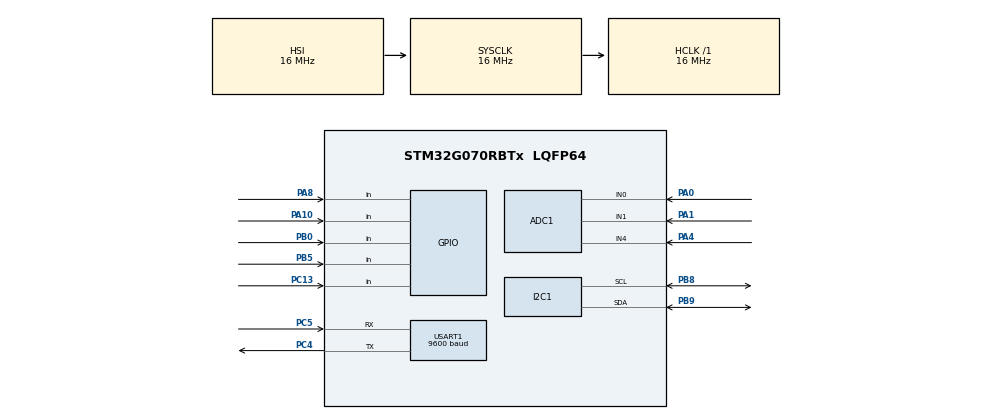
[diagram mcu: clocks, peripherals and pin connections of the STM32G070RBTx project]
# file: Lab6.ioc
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ADC1.Channel-0\#ChannelRegularConversion=ADC_CHANNEL_4
ADC1.Channel-1\#ChannelRegularConversion=ADC_CHANNEL_1
ADC1.Channel-2\#ChannelRegularConversion=ADC_CHANNEL_0
ADC1.ContinuousConvMode=DISABLE
ADC1.DMAContinuousRequests=DISABLE
ADC1.NbrOfConversion=3
ADC1.NbrOfConversionFlag=1
ADC1.Rank-0\#ChannelRegularConversion=1
ADC1.Rank-1\#ChannelRegularConversion=2
ADC1.Rank-2\#ChannelRegularConversion=3
ADC1.SamplingTime-0\#ChannelRegularConversion=ADC_SAMPLINGTIME_COMMON_1
ADC1.SamplingTime-1\#ChannelRegularConversion=ADC_SAMPLINGTIME_COMMON_1
ADC1.SamplingTime-2\#ChannelRegularConversion=ADC_SAMPLINGTIME_COMMON_1
ADC1.ScanConvMode=ADC_SCAN_DISABLE
ADC1.SelectedChannel=ADC_CHANNEL_0|ADC_CHANNEL_1|ADC_CHANNEL_4
ADC1.master=1
Dma.ADC1.0.Direction=DMA_PERIPH_TO_MEMORY
Dma.ADC1.0.EventEnable=DISABLE
Dma.ADC1.0.Instance=DMA1_Channel1
Dma.ADC1.0.MemDataAlignment=DMA_MDATAALIGN_HALFWORD
Dma.ADC1.0.MemInc=DMA_MINC_ENABLE
Dma.ADC1.0.Mode=DMA_CIRCULAR
Dma.ADC1.0.PeriphDataAlignment=DMA_PDATAALIGN_HALFWORD
Dma.ADC1.0.PeriphInc=DMA_PINC_DISABLE
Dma.ADC1.0.Polarity=HAL_DMAMUX_REQ_GEN_RISING
Dma.ADC1.0.Priority=DMA_PRIORITY_LOW
Dma.ADC1.0.RequestNumber=1
Dma.ADC1.0.SignalID=NONE
Dma.ADC1.0.SyncEnable=DISABLE
Dma.ADC1.0.SyncPolarity=HAL_DMAMUX_SYNC_NO_EVENT
Dma.ADC1.0.SyncRequestNumber=1
Dma.ADC1.0.SyncSignalID=NONE
Dma.Request0=ADC1
Mcu.Family=STM32G0
Mcu.Name=STM32G070RBTx
Mcu.Package=LQFP64
NVIC.ADC1_IRQn=true\:0\:0\:false\:false\:true\:true\:true
NVIC.DMA1_Channel1_IRQn=true\:0\:0\:false\:false\:true\:false\:true
NVIC.USART1_IRQn=true\:0\:0\:false\:false\:true\:true\:true
PA0.Mode=IN0
PA0.Signal=ADC1_IN0
PA1.Mode=IN1
PA1.Signal=ADC1_IN1
PA10.Signal=GPIO_Input
PA4.Mode=IN4
PA4.Signal=ADC1_IN4
PA8.Signal=GPIO_Input
PB0.Signal=GPIO_Input
PB5.Signal=GPIO_Input
PB8.GPIO_Pu=GPIO_PULLUP
PB8.Mode=I2C
PB8.Signal=I2C1_SCL
PB9.GPIO_Pu=GPIO_PULLUP
PB9.Mode=I2C
PB9.Signal=I2C1_SDA
PC13.Signal=GPIO_Input
PC4.Mode=Asynchronous
PC4.Signal=USART1_TX
PC5.Mode=Asynchronous
PC5.Signal=USART1_RX
ProjectManager.HeapSize=0x200
ProjectManager.StackSize=0x400
ProjectManager.TargetToolchain=EWARM V8.32
RCC.AHBFreq_Value=16000000
RCC.CortexFreq_Value=16000000
RCC.EXTERNAL_CLOCK_VALUE=48000
RCC.HCLKFreq_Value=16000000
RCC.HSE_VALUE=8000000
RCC.HSI_VALUE=16000000
RCC.LSE_VALUE=32768
RCC.SYSCLKFreq_VALUE=16000000
RCC.VCOOutputFreq_Value=128000000
USART1.BaudRate=9600
USART1.VirtualMode-Asynchronous=VM_ASYNC
VP_SYS_VS_DBSignals.Mode=DisableDeadBatterySignals
VP_TIM15_VS_ClockSourceINT.Mode=Internal
VP_TIM1_VS_ClockSourceINT.Mode=Internal
VP_TIM3_VS_ClockSourceINT.Mode=Internal
board=custom

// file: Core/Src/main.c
/* USER CODE BEGIN Header */
/**
  ******************************************************************************
  * @file           : main.c
  * @brief          : Main program body
  ******************************************************************************
  * @attention
  *
  * <h2><center>&copy; Copyright (c) 2021 STMicroelectronics.
  * All rights reserved.</center></h2>
  *
  * This software component is licensed by ST under BSD 3-Clause license,
  * the "License"; You may not use this file except in compliance with the
  * License. You may obtain a copy of the License at:
  *                        opensource.org/licenses/BSD-3-Clause
  *
  ******************************************************************************
  */
/* USER CODE END Header */
#include "main.h"

/* USER CODE BEGIN Includes */
#include "KeyboardHoldRepeat.h"
#include "waveform_16.h"
#include "serial.h"
#include "serial_user.h"
#include "fonts.h"
#include "ssd1306.h"
#include "ux_manager.h"
#include "thermocouple.h"

/* USER CODE END Includes */

/* USER CODE BEGIN PD */
#define EEPROM_ADDR     0xA0
/* USER CODE END PD */

ADC_HandleTypeDef hadc1;
DMA_HandleTypeDef hdma_adc1;

I2C_HandleTypeDef hi2c1;

TIM_HandleTypeDef htim1;
TIM_HandleTypeDef htim3;
TIM_HandleTypeDef htim15;

UART_HandleTypeDef huart1;

/* USER CODE BEGIN PV */
// scheduler stuff
extern uint8_t ten_mS_Flag;
extern uint8_t twentyfive_mS_Flag;
extern uint8_t hundred_mS_Flag;
extern uint8_t one_S_Flag;
#define FIVE_SEC_SEED 5
uint8_t five_S_Counter = FIVE_SEC_SEED;

uint8_t timeout_flag = 0;
uint8_t timeout_count = 0;
uint8_t count_flag = 0;

// Keyboard
uint8_t keyCode = NO_KEY_PRESSED;

// Comm
extern uint8_t processPacket;

// system variables
volatile uint16_t serialValue = 23;

// UI
uint8_t flashLED = false;
uint8_t buttonPushed = false;
uint16_t flashDelay = 1000;
uint16_t flashDelaySeed = 1000;
uint8_t flashAtSpeed = false;
uint16_t number = 43;
uint8_t errcode = 0;

// Display
DWfloat temperature = {"%4.1f", "----", 0, 0, true, 72.2};
DWfloat target = {"%4.1f", "----", 0, 0, true, 72.2};
extern DWfloat humidity;
DWuint8_t count = {"%3d", "----", 0, 0, true, 0};
DWstring units = {"%s", "----", 0, 0, true, "DegF"};
DWstring type = {"%s", "----", 0, 0, true, "None"};
DWstring cook = {"%s", "----", 0, 0, true, "None"};
DWstring message = {"%s", "----", 0, 0, true, "None"};
uint8_t unitChoices[2][5] = {"DegF", "DegC"};
uint16_t screenTime = 0;
#define SCREEN_TIMEOUT_COUNT     15
extern ui_screen currentScreen;

// ADC
uint16_t dmaBuffer[3];

// Thermometer
float thermTempInC = 0.0;
float tempTCInC = 0.0;
float finalTempInC = 0.0;
uint8_t typeState = 0;
float tempCustomInF = 150.0;
float tempCustomInC = 65.0;
float lastCustomInC = 0.0;
uint8_t tempCustomUseC = false;
float tempFinalInC = 0.0;
int32_t countsAdjusted;
uint32_t countsCJ;
cal_constants myCal;
cal_constants testCal;
uint8_t updateCalFlag = false;
uint8_t calCount;

// ADC Channel 0 , rank 3, is for CJ temp
// ADC Channel 1 , rank 2, is for TC offset
// ADC Channel 4 , rank 1, is for TC Output

/* USER CODE END PV */

void SystemClock_Config(void);
static void MX_GPIO_Init(void);
static void MX_ADC1_Init(void);
static void MX_TIM1_Init(void);
static void MX_TIM3_Init(void);
static void MX_TIM15_Init(void);
static void MX_USART1_UART_Init(void);
static void MX_DMA_Init(void);
static void MX_I2C1_Init(void);
/* USER CODE BEGIN PFP */
void InitValuesPWM(void);
void SetRedLedLevel(uint16_t r_level);
void SetGreenLedLevel(uint16_t g_level);
void SetBlueLedLevel(uint16_t b_level);
float Temp_Cold_Junction(uint16_t counts);
float Temp_TC(uint16_t counts);
uint32_t Temp_Cold_Counts(float tempRaw);
float Temp_Final(uint16_t counts);
float Temp_Calibrate(float temp);
/* USER CODE END PFP */

int main(void)
{

  /* MCU Configuration--------------------------------------------------------*/

  /* Reset of all peripherals, Initializes the Flash interface and the Systick. */
  HAL_Init();

  /* Configure the system clock */
  SystemClock_Config();

  /* Initialize all configured peripherals */
  MX_GPIO_Init();
  MX_DMA_Init();
  MX_ADC1_Init();
  MX_TIM1_Init();
  MX_TIM3_Init();
  MX_TIM15_Init();
  MX_USART1_UART_Init();
  MX_I2C1_Init();
  /* USER CODE BEGIN 2 */
  // Add this line because of bugs. Yay!
  HAL_SYSCFG_StrobeDBattpinsConfig(SYSCFG_UCPD1_STROBE);

  // Start ADC DMA
  HAL_ADC_Start_DMA(&hadc1, (uint32_t *)&dmaBuffer, 3);

  // UART related init
  HAL_UART_Transmit(&huart1,"Mornin'!\r\n", 10, 1000); // this tests the UART functionalit

  LL_USART_EnableIT_RXNE_RXFNE(USART1); // this line turns on the UART receive interrupt.

  SendString("\r\nBongiorno!\r\n", 14, StripZeros, AddCRLF);  // this function cal tests the transmit UART interrupt.

  // Get calibration constants from memory
  HAL_I2C_Mem_Read(&hi2c1, EEPROM_ADDR, 0, I2C_MEMADD_SIZE_8BIT, myCal.arr, 8, HAL_MAX_DELAY);

  // Display related init
  SSD1306_Init();  // initialise
  SSD1306_Clear();
  SSD1306_GotoXY (0,0);
  SSD1306_Puts ("Welcome to", &Font_11x18, SSD1306_COLOR_WHITE);
  SSD1306_GotoXY (0,20);
  SSD1306_Puts ("The Grill", &Font_11x18, SSD1306_COLOR_WHITE);
  SSD1306_GotoXY (0,40);
  SSD1306_Puts ("Thermometer!", &Font_11x18, SSD1306_COLOR_WHITE);
  SSD1306_UpdateScreen();

  HAL_Delay (3000);

  SwitchScreens(HOME);

  /* USER CODE END 2 */

  /* Infinite loop */
  /* USER CODE BEGIN WHILE */
  while (1)
  {
    //---------------------------------
    // 10mS Tasks
    if (ten_mS_Flag) {
      ten_mS_Flag = false;

    }  // end of 10mS Tasks
    //---------------------------------

    //---------------------------------
    // 25mS Tasks
    if (twentyfive_mS_Flag) {
      twentyfive_mS_Flag = false;

      keyCode = ScanKeyboard();
      DebounceKeyCode(keyCode);

      // If we've gotten a valid debounced keyCode, process it
      if (processKeyCode == true) {
        //ProcessKeyCode(keyCode);
        ProcessKeyCodeInContext(keyCode);
      }

      thermTempInC = Temp_Cold_Junction(dmaBuffer[2]);
      tempTCInC = Temp_TC(dmaBuffer[0]);
      tempFinalInC = Temp_Final(dmaBuffer[0]);

      // If units are F then convert to F, otherwise temp is C
      if(units.data[3] == 'F') {temperature.data = (tempFinalInC*(9.0/5.0)) + 32;}
      else {temperature.data = tempFinalInC;}

      switch(typeState) {
      case BEEF:
        strcpy(type.data, "Beef       ");
        if(units.data[3] == 'F') {target.data = 135.0;} // in F
        else {target.data = 57.2222;} // in C
        break;
      case PORK:
        strcpy(type.data, "Pork       ");
        if(units.data[3] == 'F') {target.data = 145.0;} // in F
        else {target.data = 62.7778;} // in C
        break;
      case CHICKEN:
        strcpy(type.data, "Chicken       ");
        if(units.data[3] == 'F') {target.data = 165.0;} // in F
        else {target.data = 73.8889;} // in C
        break;
      case CUSTOM:
        strcpy(type.data, "Custom       ");
        if(tempCustomUseC) {
          if(units.data[3] == 'F') {target.data = (tempCustomInC*(9.0/5.0)) + 32;}
          else {target.data = tempCustomInC;}
        }
        else {
          if(units.data[3] == 'C') {target.data = (tempCustomInF-32)*(5.0/9.0);}
          else {target.data = tempCustomInF;}
        }
        break;
      }
    }  // end of 25mS Tasks
    //---------------------------------

    //---------------------------------
    // 100mS Tasks
    if (hundred_mS_Flag) {
      hundred_mS_Flag = false;

      //HAL_ADC_Start_IT(&hadc1);

      HAL_ADC_Start_DMA(&hadc1, (uint32_t *)&dmaBuffer, 3);

      if(updateCalFlag) {
        updateCalFlag = false;
        calCount++;
        HAL_I2C_Mem_Write(&hi2c1, EEPROM_ADDR, 0, I2C_MEMADD_SIZE_8BIT, myCal.arr, 8, HAL_MAX_DELAY);
      }
    }  // end of 100mS Tasks
    //---------------------------------

    //---------------------------------
    // 1 Sec Tasks
    if (one_S_Flag) {
      one_S_Flag = false;
      UpdateScreenValues();
      count.data++;

      if(timeout_flag) {
        timeout_flag = 0;
        timeout_count = 0;
        count_flag = 1;
      }
      else if(count_flag) {
        if(timeout_count >= SCREEN_TIMEOUT_COUNT){
          count_flag = 0;
          if(currentScreen != HOME) {SwitchScreens(HOME);}
        }
        else {timeout_count++;}
      }

    } // end of 1Sec Tasks
    //---------------------------------

    //---------------------------------
    // Every time through the loop
    if (nextSerialRxIn != nextSerialRx2Proc) {
      ProcessReceiveBuffer();
    }

    if (processPacket == true) {
      processPacket = false;
      timeout_flag = 1;
      ProcessPacket();
    }
    // end Every time through the loop
    //---------------------------------

    /* USER CODE END WHILE */

  }
}

void SystemClock_Config(void)
{
  RCC_OscInitTypeDef RCC_OscInitStruct = {0};
  RCC_ClkInitTypeDef RCC_ClkInitStruct = {0};
  RCC_PeriphCLKInitTypeDef PeriphClkInit = {0};

  /** Configure the main internal regulator output voltage
  */
  HAL_PWREx_ControlVoltageScaling(PWR_REGULATOR_VOLTAGE_SCALE1);
  /** Initializes the RCC Oscillators according to the specified parameters
  * in the RCC_OscInitTypeDef structure.
  */
  RCC_OscInitStruct.OscillatorType = RCC_OSCILLATORTYPE_HSI;
  RCC_OscInitStruct.HSIState = RCC_HSI_ON;
  RCC_OscInitStruct.HSIDiv = RCC_HSI_DIV1;
  RCC_OscInitStruct.HSICalibrationValue = RCC_HSICALIBRATION_DEFAULT;
  RCC_OscInitStruct.PLL.PLLState = RCC_PLL_NONE;
  if (HAL_RCC_OscConfig(&RCC_OscInitStruct) != HAL_OK)
  {
    Error_Handler();
  }
  /** Initializes the CPU, AHB and APB buses clocks
  */
  RCC_ClkInitStruct.ClockType = RCC_CLOCKTYPE_HCLK|RCC_CLOCKTYPE_SYSCLK
                              |RCC_CLOCKTYPE_PCLK1;
  RCC_ClkInitStruct.SYSCLKSource = RCC_SYSCLKSOURCE_HSI;
  RCC_ClkInitStruct.AHBCLKDivider = RCC_SYSCLK_DIV1;
  RCC_ClkInitStruct.APB1CLKDivider = RCC_HCLK_DIV1;

  if (HAL_RCC_ClockConfig(&RCC_ClkInitStruct, FLASH_LATENCY_0) != HAL_OK)
  {
    Error_Handler();
  }
  /** Initializes the peripherals clocks
  */
  PeriphClkInit.PeriphClockSelection = RCC_PERIPHCLK_USART1|RCC_PERIPHCLK_I2C1
                              |RCC_PERIPHCLK_ADC;
  PeriphClkInit.Usart1ClockSelection = RCC_USART1CLKSOURCE_PCLK1;
  PeriphClkInit.I2c1ClockSelection = RCC_I2C1CLKSOURCE_PCLK1;
  PeriphClkInit.AdcClockSelection = RCC_ADCCLKSOURCE_SYSCLK;
  if (HAL_RCCEx_PeriphCLKConfig(&PeriphClkInit) != HAL_OK)
  {
    Error_Handler();
  }
}

static void MX_ADC1_Init(void)
{

  ADC_ChannelConfTypeDef sConfig = {0};

  /** Configure the global features of the ADC (Clock, Resolution, Data Alignment and number of conversion)
  */
  hadc1.Instance = ADC1;
  hadc1.Init.ClockPrescaler = ADC_CLOCK_SYNC_PCLK_DIV2;
  hadc1.Init.Resolution = ADC_RESOLUTION_12B;
  hadc1.Init.DataAlign = ADC_DATAALIGN_RIGHT;
  hadc1.Init.ScanConvMode = ADC_SCAN_DISABLE;
  hadc1.Init.EOCSelection = ADC_EOC_SINGLE_CONV;
  hadc1.Init.LowPowerAutoWait = DISABLE;
  hadc1.Init.LowPowerAutoPowerOff = DISABLE;
  hadc1.Init.ContinuousConvMode = DISABLE;
  hadc1.Init.NbrOfConversion = 3;
  hadc1.Init.DiscontinuousConvMode = DISABLE;
  hadc1.Init.ExternalTrigConv = ADC_SOFTWARE_START;
  hadc1.Init.ExternalTrigConvEdge = ADC_EXTERNALTRIGCONVEDGE_NONE;
  hadc1.Init.DMAContinuousRequests = DISABLE;
  hadc1.Init.Overrun = ADC_OVR_DATA_PRESERVED;
  hadc1.Init.SamplingTimeCommon1 = ADC_SAMPLETIME_1CYCLE_5;
  hadc1.Init.SamplingTimeCommon2 = ADC_SAMPLETIME_1CYCLE_5;
  hadc1.Init.OversamplingMode = DISABLE;
  hadc1.Init.TriggerFrequencyMode = ADC_TRIGGER_FREQ_HIGH;
  if (HAL_ADC_Init(&hadc1) != HAL_OK)
  {
    Error_Handler();
  }
  /** Configure Regular Channel
  */
  sConfig.Channel = ADC_CHANNEL_4;
  sConfig.Rank = ADC_REGULAR_RANK_1;
  sConfig.SamplingTime = ADC_SAMPLINGTIME_COMMON_1;
  if (HAL_ADC_ConfigChannel(&hadc1, &sConfig) != HAL_OK)
  {
    Error_Handler();
  }
  /** Configure Regular Channel
  */
  sConfig.Channel = ADC_CHANNEL_1;
  sConfig.Rank = ADC_REGULAR_RANK_2;
  if (HAL_ADC_ConfigChannel(&hadc1, &sConfig) != HAL_OK)
  {
    Error_Handler();
  }
  /** Configure Regular Channel
  */
  sConfig.Channel = ADC_CHANNEL_0;
  sConfig.Rank = ADC_REGULAR_RANK_3;
  if (HAL_ADC_ConfigChannel(&hadc1, &sConfig) != HAL_OK)
  {
    Error_Handler();
  }

}

static void MX_I2C1_Init(void)
{

  hi2c1.Instance = I2C1;
  hi2c1.Init.Timing = 0x00303D5B;
  hi2c1.Init.OwnAddress1 = 0;
  hi2c1.Init.AddressingMode = I2C_ADDRESSINGMODE_7BIT;
  hi2c1.Init.DualAddressMode = I2C_DUALADDRESS_DISABLE;
  hi2c1.Init.OwnAddress2 = 0;
  hi2c1.Init.OwnAddress2Masks = I2C_OA2_NOMASK;
  hi2c1.Init.GeneralCallMode = I2C_GENERALCALL_DISABLE;
  hi2c1.Init.NoStretchMode = I2C_NOSTRETCH_DISABLE;
  if (HAL_I2C_Init(&hi2c1) != HAL_OK)
  {
    Error_Handler();
  }
  /** Configure Analogue filter
  */
  if (HAL_I2CEx_ConfigAnalogFilter(&hi2c1, I2C_ANALOGFILTER_ENABLE) != HAL_OK)
  {
    Error_Handler();
  }
  /** Configure Digital filter
  */
  if (HAL_I2CEx_ConfigDigitalFilter(&hi2c1, 0) != HAL_OK)
  {
    Error_Handler();
  }

}

static void MX_TIM1_Init(void)
{

  TIM_ClockConfigTypeDef sClockSourceConfig = {0};
  TIM_MasterConfigTypeDef sMasterConfig = {0};

  htim1.Instance = TIM1;
  htim1.Init.Prescaler = 0;
  htim1.Init.CounterMode = TIM_COUNTERMODE_UP;
  htim1.Init.Period = 65535;
  htim1.Init.ClockDivision = TIM_CLOCKDIVISION_DIV1;
  htim1.Init.RepetitionCounter = 0;
  htim1.Init.AutoReloadPreload = TIM_AUTORELOAD_PRELOAD_DISABLE;
  if (HAL_TIM_Base_Init(&htim1) != HAL_OK)
  {
    Error_Handler();
  }
  sClockSourceConfig.ClockSource = TIM_CLOCKSOURCE_INTERNAL;
  if (HAL_TIM_ConfigClockSource(&htim1, &sClockSourceConfig) != HAL_OK)
  {
    Error_Handler();
  }
  sMasterConfig.MasterOutputTrigger = TIM_TRGO_RESET;
  sMasterConfig.MasterOutputTrigger2 = TIM_TRGO2_RESET;
  sMasterConfig.MasterSlaveMode = TIM_MASTERSLAVEMODE_DISABLE;
  if (HAL_TIMEx_MasterConfigSynchronization(&htim1, &sMasterConfig) != HAL_OK)
  {
    Error_Handler();
  }

}

static void MX_TIM3_Init(void)
{

  TIM_ClockConfigTypeDef sClockSourceConfig = {0};
  TIM_MasterConfigTypeDef sMasterConfig = {0};

  htim3.Instance = TIM3;
  htim3.Init.Prescaler = 0;
  htim3.Init.CounterMode = TIM_COUNTERMODE_UP;
  htim3.Init.Period = 65535;
  htim3.Init.ClockDivision = TIM_CLOCKDIVISION_DIV1;
  htim3.Init.AutoReloadPreload = TIM_AUTORELOAD_PRELOAD_DISABLE;
  if (HAL_TIM_Base_Init(&htim3) != HAL_OK)
  {
    Error_Handler();
  }
  sClockSourceConfig.ClockSource = TIM_CLOCKSOURCE_INTERNAL;
  if (HAL_TIM_ConfigClockSource(&htim3, &sClockSourceConfig) != HAL_OK)
  {
    Error_Handler();
  }
  sMasterConfig.MasterOutputTrigger = TIM_TRGO_RESET;
  sMasterConfig.MasterSlaveMode = TIM_MASTERSLAVEMODE_DISABLE;
  if (HAL_TIMEx_MasterConfigSynchronization(&htim3, &sMasterConfig) != HAL_OK)
  {
    Error_Handler();
  }

}

static void MX_TIM15_Init(void)
{

  TIM_ClockConfigTypeDef sClockSourceConfig = {0};
  TIM_MasterConfigTypeDef sMasterConfig = {0};

  htim15.Instance = TIM15;
  htim15.Init.Prescaler = 0;
  htim15.Init.CounterMode = TIM_COUNTERMODE_UP;
  htim15.Init.Period = 65535;
  htim15.Init.ClockDivision = TIM_CLOCKDIVISION_DIV1;
  htim15.Init.RepetitionCounter = 0;
  htim15.Init.AutoReloadPreload = TIM_AUTORELOAD_PRELOAD_DISABLE;
  if (HAL_TIM_Base_Init(&htim15) != HAL_OK)
  {
    Error_Handler();
  }
  sClockSourceConfig.ClockSource = TIM_CLOCKSOURCE_INTERNAL;
  if (HAL_TIM_ConfigClockSource(&htim15, &sClockSourceConfig) != HAL_OK)
  {
    Error_Handler();
  }
  sMasterConfig.MasterOutputTrigger = TIM_TRGO_RESET;
  sMasterConfig.MasterSlaveMode = TIM_MASTERSLAVEMODE_DISABLE;
  if (HAL_TIMEx_MasterConfigSynchronization(&htim15, &sMasterConfig) != HAL_OK)
  {
    Error_Handler();
  }

}

static void MX_USART1_UART_Init(void)
{

  huart1.Instance = USART1;
  huart1.Init.BaudRate = 9600;
  huart1.Init.WordLength = UART_WORDLENGTH_8B;
  huart1.Init.StopBits = UART_STOPBITS_1;
  huart1.Init.Parity = UART_PARITY_NONE;
  huart1.Init.Mode = UART_MODE_TX_RX;
  huart1.Init.HwFlowCtl = UART_HWCONTROL_NONE;
  huart1.Init.OverSampling = UART_OVERSAMPLING_16;
  huart1.Init.OneBitSampling = UART_ONE_BIT_SAMPLE_DISABLE;
  huart1.Init.ClockPrescaler = UART_PRESCALER_DIV1;
  huart1.AdvancedInit.AdvFeatureInit = UART_ADVFEATURE_NO_INIT;
  if (HAL_UART_Init(&huart1) != HAL_OK)
  {
    Error_Handler();
  }
  if (HAL_UARTEx_SetTxFifoThreshold(&huart1, UART_TXFIFO_THRESHOLD_1_8) != HAL_OK)
  {
    Error_Handler();
  }
  if (HAL_UARTEx_SetRxFifoThreshold(&huart1, UART_RXFIFO_THRESHOLD_1_8) != HAL_OK)
  {
    Error_Handler();
  }
  if (HAL_UARTEx_DisableFifoMode(&huart1) != HAL_OK)
  {
    Error_Handler();
  }

}

static void MX_DMA_Init(void)
{

  /* DMA controller clock enable */
  __HAL_RCC_DMA1_CLK_ENABLE();

  /* DMA interrupt init */
  /* DMA1_Channel1_IRQn interrupt configuration */
  HAL_NVIC_SetPriority(DMA1_Channel1_IRQn, 0, 0);
  HAL_NVIC_EnableIRQ(DMA1_Channel1_IRQn);

}

static void MX_GPIO_Init(void)
{
  GPIO_InitTypeDef GPIO_InitStruct = {0};

  /* GPIO Ports Clock Enable */
  __HAL_RCC_GPIOC_CLK_ENABLE();
  __HAL_RCC_GPIOA_CLK_ENABLE();
  __HAL_RCC_GPIOB_CLK_ENABLE();

  /*Configure GPIO pin : PC13 */
  GPIO_InitStruct.Pin = GPIO_PIN_13;
  GPIO_InitStruct.Mode = GPIO_MODE_INPUT;
  GPIO_InitStruct.Pull = GPIO_NOPULL;
  HAL_GPIO_Init(GPIOC, &GPIO_InitStruct);

  /*Configure GPIO pins : PB0 PB5 */
  GPIO_InitStruct.Pin = GPIO_PIN_0|GPIO_PIN_5;
  GPIO_InitStruct.Mode = GPIO_MODE_INPUT;
  GPIO_InitStruct.Pull = GPIO_NOPULL;
  HAL_GPIO_Init(GPIOB, &GPIO_InitStruct);

  /*Configure GPIO pins : PA8 PA10 */
  GPIO_InitStruct.Pin = GPIO_PIN_8|GPIO_PIN_10;
  GPIO_InitStruct.Mode = GPIO_MODE_INPUT;
  GPIO_InitStruct.Pull = GPIO_NOPULL;
  HAL_GPIO_Init(GPIOA, &GPIO_InitStruct);

}

/* USER CODE BEGIN 4 */
// Function to calculate cold junction temp in C
float Temp_Cold_Junction(uint16_t counts) {
  float lastValue;
  float Rmin;
  float Rmax;
  float Tmin;
  float resistance;
  float thermTemp = 0.0;
  // Calculate the resistance of the thermistor
  resistance = (10000*counts)/(4096-counts);
  for(uint8_t i = 0; i < (sizeof(ThermData))/(sizeof(uint32_t)); i++) {
    if(resistance > ThermData[i]) {
      //Break if temperature is too low
      if(i == 0) {break;}

      //Setup for temp calculation
      Rmax = ThermData[i];
      Rmin = lastValue;
      Tmin = (i*10) - 10;
      thermTemp = (((resistance-Rmin)*10.0)/(Rmax-Rmin)) + Tmin;
      break;
    }
    else {lastValue = ThermData[i];}
  }

  return thermTemp;
}

// Function to calculate thermocouple temp in C
float Temp_TC(uint16_t counts) {
  float lastValue;
  float countsMin;
  float countsMax;
  float Tmin;
  float tempTC = 0.0;

  // Account for TC offset
  int32_t countsAdjusted = counts - dmaBuffer[1];

  for(uint8_t i = 0; i < (sizeof(TCData))/(sizeof(uint16_t)); i++) {
      if(countsAdjusted < TCData[i]) {
      //Break if temperature is too low
      if(i == 0) {break;}

      //Setup for temp calculation
      countsMax = TCData[i];
      countsMin = lastValue;
      Tmin = i-35.0;
      tempTC = (((countsAdjusted-countsMin)*1.0)/(countsMax-countsMin)) + Tmin;
      break;
    }
      else {lastValue = TCData[i];}
  }
  return tempTC;
}

float Temp_Final(uint16_t counts) {
  float lastTFValue;
  float countsTFMin;
  float countsTFMax;
  float TTFmin;
  float tempFinal = 0.0;
  // Account for TC offset
   countsAdjusted= counts - dmaBuffer[1];

  // Account for cold junction temperature
  countsCJ = Temp_Cold_Counts(thermTempInC);
  countsAdjusted += countsCJ;

  for(uint8_t i = 0; i < (sizeof(TCData))/(sizeof(uint16_t)); i++) {
    if(countsAdjusted < TCData[i]) {
      //Break if temperature is too low
      if(i == 0) {break;}

      //Setup for temp calculation
      countsTFMax = TCData[i];
      countsTFMin = lastTFValue;
      TTFmin = i-35.0;
      tempFinal = (((countsAdjusted-countsTFMin)*1.0)/(countsTFMax-countsTFMin)) + TTFmin;
      break;
    }
    else {lastTFValue = TCData[i];}
  }

  // Account for calibration
  tempFinal = Temp_Calibrate(tempFinal);

  return tempFinal;
}

uint32_t Temp_Cold_Counts(float tempRaw) {
  int32_t lastCJValue;
  uint32_t tempCJMin;
  uint32_t countsCJMin;
  uint32_t countsCJMax;
  uint32_t countsCold = 0;

  for(uint8_t i = 0; i < (sizeof(TCData))/(sizeof(uint16_t)); i++) {
    if(tempRaw < (i-35)) {
      //Break if temperature is too low
      if(i == 0) {break;}

      //Setup for temp calculation
      tempCJMin = lastCJValue;
      countsCJMin = TCData[lastCJValue+35];
      countsCJMax = TCData[i];
      countsCold = ((tempRaw - tempCJMin)*(countsCJMax-countsCJMin)) + countsCJMin;
      break;
    }
    else {lastCJValue = i-35;}
  }

  return countsCold;
}

float Temp_Calibrate(float temp) {
  float tempCal;
  tempCal = (myCal.calData.tcCalSlope*temp) + myCal.calData.tcCalOffset;
  return tempCal;
}

/* USER CODE END 4 */

void Error_Handler(void)
{
  __disable_irq();
  while (1)
  {
  }
}

/************************ (C) COPYRIGHT STMicroelectronics *****END OF FILE****/
